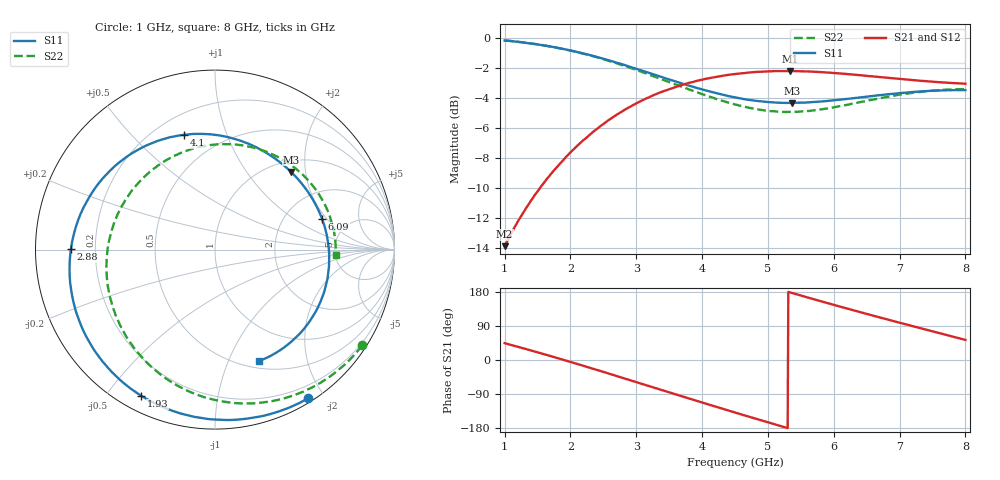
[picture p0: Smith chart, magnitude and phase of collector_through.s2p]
! Created Fri Feb 16 14:02:22 2018
# hz S ma R 50
! 2 Port Network Data from SP2.SP block
! freq  magS11  angS11  magS21  angS21  magS12  angS12  magS22  angS22
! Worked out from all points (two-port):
!   701 points, 1 GHz to 8 GHz, reference 50 ohm
!   highest |S21| = -2.23 dB at 5.34 GHz (marker M1); lowest = -13.9 dB at 1 GHz (marker M2)
!   |S21| within 3 dB of the highest: 2.675 GHz to end of sweep
!   lowest |S11| = -4.4 dB at 5.37 GHz (marker M3), VSWR 4.07, Z = 61.1 + j83.3 ohm
!   |S11| at or under -10 dB: nowhere
!   |S22| runs from -5.0 to -0.2 dB; largest |S21 - S12| = 0
!   S11 on the Smith chart (normalised r, x): 1 GHz: 0.05, -1.81; 1.93 GHz: 0.06, -0.61; 2.88 GHz: 0.11, +0.00; 4.1 GHz: 0.32, +0.72; 6.09 GHz: 3.18, +1.79; 8 GHz: 0.58, -1.30
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1e9  0.9772 -57.9  0.2018 44.4  0.2018 44.4  0.9778 -33.1
1.25e9  0.965 -73.2  0.2536 32.5  0.2536 32.5  0.9656 -41.6
1.47e9  0.9503 -86.9  0.301 21.8  0.301 21.8  0.9507 -49.3
1.7e9  0.9334 -101.6  0.3498 10.3  0.3498 10.3  0.9334 -57.5
1.93e9  0.912 -116.7  0.3996 -1.4  0.3996 -1.4  0.9115 -65.8
2.17e9  0.8874 -132.6  0.4497 -13.9  0.4497 -13.9  0.886 -74.7
2.52e9  0.8477 -156.2  0.5189 -32.5  0.5189 -32.5  0.8445 -88.1
2.88e9  0.8025 179.7  0.584 -51.9  0.584 -51.9  0.7963 -102.4
3.1e9  0.7748 165.2  0.6186 -63.8  0.6186 -63.8  0.7662 -111.5
3.34e9  0.7447 149.7  0.6533 -76.8  0.6533 -76.8  0.7329 -121.8
3.72e9  0.7003 126.4  0.6977 -97.2  0.6977 -97.2  0.682 -139.2
4.1e9  0.6621 104.9  0.7318 -117.5  0.7318 -117.5  0.6364 -158.0
4.5e9  0.6319 84.3  0.7564 -138.6  0.7564 -138.6  0.5991 -179.8
4.93e9  0.6116 64.3  0.7706 -160.9  0.7706 -160.9  0.5727 154.9
5.34e9  0.6058 46.8  0.774 178.2  0.774 178.2  0.5659 129.6
5.37e9  0.6054 45.6  0.7738 176.7  0.7738 176.7  0.5652 127.8
5.67e9  0.609 33.3  0.7701 161.7  0.7701 161.7  0.5715 109.4
6.09e9  0.62 16.2  0.7597 141.1  0.7597 141.1  0.5901 84.7
6.47e9  0.6342 0.5  0.7465 123.0  0.7465 123.0  0.6134 64.2
6.84e9  0.6479 -15.1  0.7336 105.8  0.7336 105.8  0.6367 45.8
7.39e9  0.6629 -39.5  0.7158 80.7  0.7158 80.7  0.6623 21.4
8e9  0.6682 -68.5  0.7019 53.0  0.7019 53.0  0.6733 -2.5
